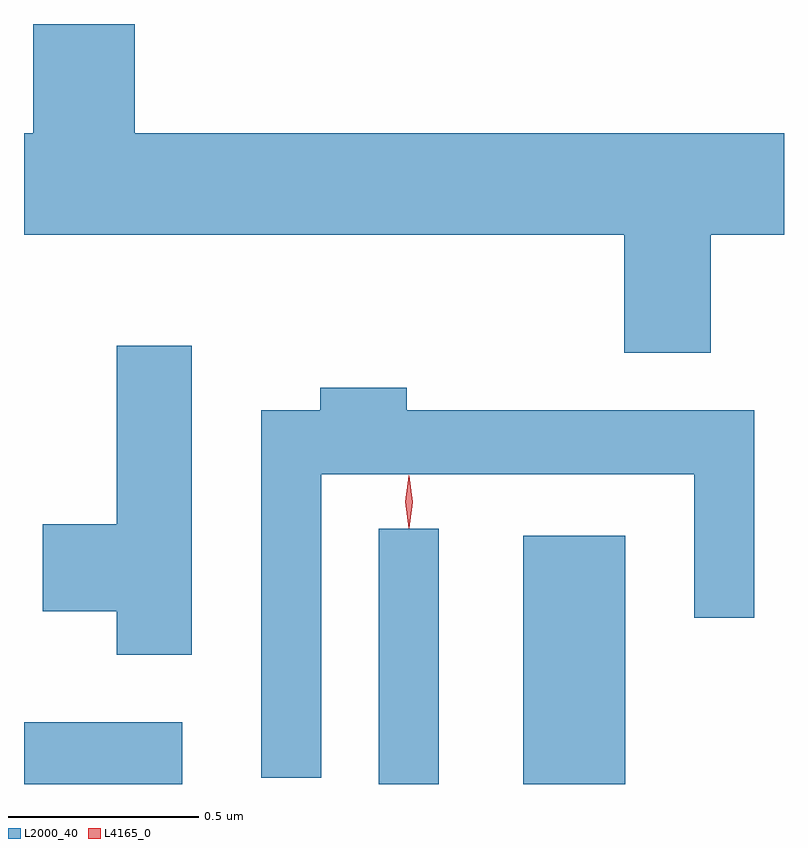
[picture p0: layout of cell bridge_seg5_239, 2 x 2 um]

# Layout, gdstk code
import gdstk
lib = gdstk.Library(unit=1e-6, precision=1e-09)
def R(c, l, rs):  # rectangles x0, y0, x1, y1
    for r in rs: c.add(gdstk.rectangle(r[:2], r[2:], *l))
def P(c, l, *ps):  # polygons
    for p in ps: c.add(gdstk.Polygon(p, *l))
L2000_40 = (2000, 40)
L4165_0 = (4165, 0)

bridge_seg5_239 = lib.new_cell('bridge_seg5_239')
R(bridge_seg5_239, L2000_40, [(1333.932,1426.491,1334.349,1426.654), (1334.866,1426.491,1335.024,1427.163), (1335.246,1426.491,1335.514,1427.144)])
P(bridge_seg5_239, L2000_40, [(1335.739,1427.936),(1335.932,1427.936),(1335.932,1428.204),(1334.224,1428.204),(1334.224,1428.491),(1333.956,1428.491),(1333.956,1428.204),(1333.932,1428.204),(1333.932,1427.936),(1335.511,1427.936),(1335.511,1427.626),(1335.739,1427.626)],
  [(1334.374,1427.644),(1334.176,1427.644),(1334.176,1427.174),(1333.981,1427.174),(1333.981,1426.946),(1334.176,1426.946),(1334.176,1426.831),(1334.374,1426.831)],
  [(1334.714,1427.306),(1335.696,1427.306),(1335.696,1426.928),(1335.854,1426.928),(1335.854,1427.474),(1334.939,1427.474),(1334.939,1427.534),(1334.711,1427.534),(1334.711,1427.474),(1334.556,1427.474),(1334.556,1426.508),(1334.714,1426.508)])
P(bridge_seg5_239, L4165_0, [(1334.944,1427.164),(1334.935,1427.234),(1334.945,1427.302),(1334.945,1427.303),(1334.946,1427.302),(1334.955,1427.233),(1334.946,1427.164),(1334.945,1427.164)],
  [(1334.944,1427.167),(1334.935,1427.234),(1334.944,1427.3),(1334.945,1427.301),(1334.946,1427.3),(1334.955,1427.234),(1334.946,1427.167),(1334.945,1427.167)])

lib.write_gds('bridge_seg5_239.gds')
